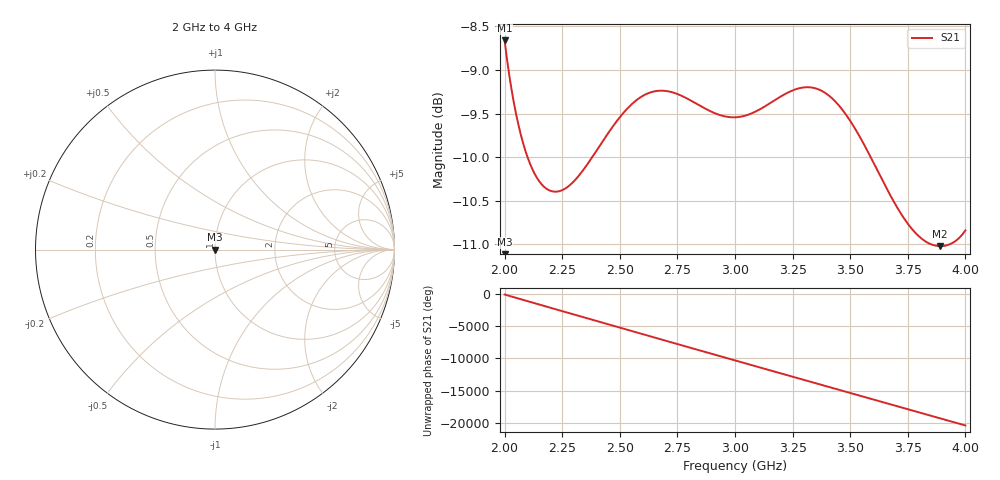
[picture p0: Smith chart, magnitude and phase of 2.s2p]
!Keysight Technologies,P9374A,MY57212427,A.14.10.08
!Date: Wednesday, July 20, 2022 15:55:08
!Correction: S11(Off)
!S21(Off)
!S12(Off)
!S22(Off)
!S2P File: Measurement: :
# Hz S  dB  R 50
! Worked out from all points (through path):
!   201 points, 2 GHz to 4 GHz, reference 50 ohm
!   highest |S21| = -8.66 dB at 2 GHz (marker M1); lowest = -11.0 dB at 3.89 GHz (marker M2)
!   lowest |S11| = - dB at 2 GHz (marker M3), VSWR 1.00, Z = 50 + j2.33e-10 ohm
!   |S11| at or under -10 dB: start of sweep to end of sweep
!   S12 and S22 are empty: the file has one direction only
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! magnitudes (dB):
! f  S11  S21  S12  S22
! 2 GHz  -  -8.7  -  -
! 2.03 GHz  -  -9.2  -  -
! 2.06 GHz  -  -9.6  -  -
! 2.1 GHz  -  -10.0  -  -
! 2.14 GHz  -  -10.2  -  -
! 2.18 GHz  -  -10.4  -  -
! 2.23 GHz  -  -10.4  -  -
! 2.34 GHz  -  -10.2  -  -
! 2.53 GHz  -  -9.5  -  -
! 2.6 GHz  -  -9.3  -  -
! 2.67 GHz  -  -9.2  -  -
! 3 GHz  -  -9.5  -  -
! 3.08 GHz  -  -9.5  -  -
! 3.26 GHz  -  -9.2  -  -
! 3.34 GHz  -  -9.2  -  -
! 3.41 GHz  -  -9.3  -  -
! 3.48 GHz  -  -9.5  -  -
! 3.67 GHz  -  -10.4  -  -
! 3.78 GHz  -  -10.9  -  -
! 3.89 GHz  -  -11.0  -  -
! 3.95 GHz  -  -11.0  -  -
! 4 GHz  -  -10.8  -  -
